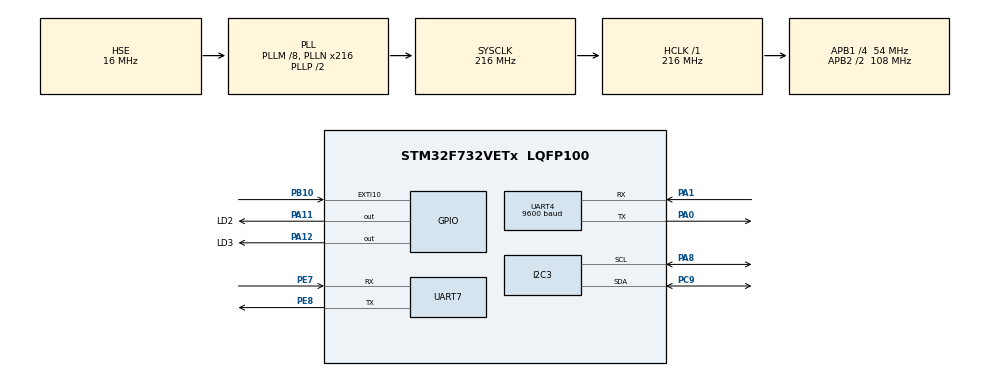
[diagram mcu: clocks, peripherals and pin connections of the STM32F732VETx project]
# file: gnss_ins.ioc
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Dma.Request0=UART4_RX
Dma.UART4_RX.0.Direction=DMA_PERIPH_TO_MEMORY
Dma.UART4_RX.0.FIFOMode=DMA_FIFOMODE_DISABLE
Dma.UART4_RX.0.Instance=DMA1_Stream2
Dma.UART4_RX.0.MemDataAlignment=DMA_MDATAALIGN_BYTE
Dma.UART4_RX.0.MemInc=DMA_MINC_ENABLE
Dma.UART4_RX.0.Mode=DMA_NORMAL
Dma.UART4_RX.0.PeriphDataAlignment=DMA_PDATAALIGN_BYTE
Dma.UART4_RX.0.PeriphInc=DMA_PINC_DISABLE
Dma.UART4_RX.0.Priority=DMA_PRIORITY_VERY_HIGH
I2C3.Timing=0x20404768
Mcu.Family=STM32F7
Mcu.Name=STM32F732VETx
Mcu.Package=LQFP100
NVIC.DMA1_Stream2_IRQn=true\:0\:0\:false\:false\:true\:false\:true
NVIC.EXTI15_10_IRQn=true\:0\:0\:false\:false\:true\:true\:true
NVIC.PriorityGroup=NVIC_PRIORITYGROUP_4
NVIC.TIM3_IRQn=true\:0\:0\:false\:false\:true\:true\:true
NVIC.TIM4_IRQn=true\:0\:0\:false\:false\:true\:true\:true
NVIC.UART4_IRQn=true\:0\:0\:false\:false\:true\:true\:true
PA0-WKUP.Mode=Asynchronous
PA0-WKUP.Signal=UART4_TX
PA1.Mode=Asynchronous
PA1.Signal=UART4_RX
PA11.GPIO_Label=LD2
PA11.Signal=GPIO_Output
PA12.GPIO_Label=LD3
PA12.Signal=GPIO_Output
PA8.Mode=I2C
PA8.Signal=I2C3_SCL
PB10.Signal=GPXTI10
PC9.Mode=I2C
PC9.Signal=I2C3_SDA
PE7.Mode=Asynchronous
PE7.Signal=UART7_RX
PE8.Mode=Asynchronous
PE8.Signal=UART7_TX
PH0-OSC_IN.Mode=HSE-External-Oscillator
PH0-OSC_IN.Signal=RCC_OSC_IN
PH1-OSC_OUT.Mode=HSE-External-Oscillator
PH1-OSC_OUT.Signal=RCC_OSC_OUT
ProjectManager.HeapSize=0x200
ProjectManager.StackSize=0x400
ProjectManager.TargetToolchain=STM32CubeIDE
RCC.AHBFreq_Value=216000000
RCC.APB1CLKDivider=RCC_HCLK_DIV4
RCC.APB1Freq_Value=54000000
RCC.APB1TimFreq_Value=108000000
RCC.APB2CLKDivider=RCC_HCLK_DIV2
RCC.APB2Freq_Value=108000000
RCC.APB2TimFreq_Value=216000000
RCC.CortexFreq_Value=216000000
RCC.HCLKFreq_Value=216000000
RCC.HSE_VALUE=16000000
RCC.HSI_VALUE=16000000
RCC.LSE_VALUE=32768
RCC.PLLM=8
RCC.PLLN=216
RCC.PLLSourceVirtual=RCC_PLLSOURCE_HSE
RCC.SYSCLKFreq_VALUE=216000000
RCC.SYSCLKSource=RCC_SYSCLKSOURCE_PLLCLK
RCC.USBFreq_Value=216000000
RCC.VCOOutputFreq_Value=432000000
TIM3.Period=20
TIM3.Prescaler=54000-1
TIM3.TIM_MasterOutputTrigger=TIM_TRGO_UPDATE
TIM4.Period=2000
TIM4.Prescaler=54000-1
TIM4.TIM_MasterOutputTrigger=TIM_TRGO_UPDATE
UART4.BaudRate=9600
UART7.Parity=PARITY_EVEN
UART7.WordLength=WORDLENGTH_9B
VP_TIM3_VS_ClockSourceINT.Mode=Internal
VP_TIM4_VS_ClockSourceINT.Mode=Internal
board=custom

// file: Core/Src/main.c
/* USER CODE BEGIN Header */
/**
  ******************************************************************************
  * @file           : main.c
  * @brief          : Main program body
  ******************************************************************************
  * @attention
  *
  * <h2><center>&copy; Copyright (c) 2021 STMicroelectronics.
  * All rights reserved.</center></h2>
  *
  * This software component is licensed by ST under BSD 3-Clause license,
  * the "License"; You may not use this file except in compliance with the
  * License. You may obtain a copy of the License at:
  *                        opensource.org/licenses/BSD-3-Clause
  *
  ******************************************************************************
  */
/* USER CODE END Header */
#include "main.h"
#include "dma.h"
#include "i2c.h"
#include "tim.h"
#include "usart.h"
#include "gpio.h"

/* USER CODE BEGIN Includes */
#include "system_defines.h"
#include "imu.h"
#include "gnss.h"
#include "ins.h"
#include "moving_average_filter.h"
#include "logging.h"
#include "unit.h"
#include "stdio.h"

/* USER CODE END Includes */

/* USER CODE BEGIN PD */

void acc_init();
void acc_handle();

void gnss_init();
void gnss_handle();

/* USER CODE END PD */

void SystemClock_Config(void);

int main(void)
{

  /* MCU Configuration--------------------------------------------------------*/

  /* Reset of all peripherals, Initializes the Flash interface and the Systick. */
  HAL_Init();

  /* Configure the system clock */
  SystemClock_Config();

  /* Initialize all configured peripherals */
  MX_GPIO_Init();
  MX_I2C3_Init();
  MX_DMA_Init();
  MX_UART4_Init();
  MX_TIM3_Init();
  MX_UART7_Init();
  MX_TIM4_Init();
  /* USER CODE BEGIN 2 */

#ifdef UNIT
  unit_test();
#endif

  HAL_TIM_Base_Start_IT(&htim3);//period 10ms
  HAL_TIM_Base_Start_IT(&htim4);//period 1s

  acc_init();
  gnss_init();

  /* USER CODE END 2 */

  /* Infinite loop */
  /* USER CODE BEGIN WHILE */
  while (1)
  {

	  gnss_handle();
	  acc_handle();

    /* USER CODE END WHILE */

  }
}

void SystemClock_Config(void)
{
  RCC_OscInitTypeDef RCC_OscInitStruct = {0};
  RCC_ClkInitTypeDef RCC_ClkInitStruct = {0};
  RCC_PeriphCLKInitTypeDef PeriphClkInitStruct = {0};

  /** Configure the main internal regulator output voltage
  */
  __HAL_RCC_PWR_CLK_ENABLE();
  __HAL_PWR_VOLTAGESCALING_CONFIG(PWR_REGULATOR_VOLTAGE_SCALE1);
  /** Initializes the RCC Oscillators according to the specified parameters
  * in the RCC_OscInitTypeDef structure.
  */
  RCC_OscInitStruct.OscillatorType = RCC_OSCILLATORTYPE_HSE;
  RCC_OscInitStruct.HSEState = RCC_HSE_ON;
  RCC_OscInitStruct.PLL.PLLState = RCC_PLL_ON;
  RCC_OscInitStruct.PLL.PLLSource = RCC_PLLSOURCE_HSE;
  RCC_OscInitStruct.PLL.PLLM = 8;
  RCC_OscInitStruct.PLL.PLLN = 216;
  RCC_OscInitStruct.PLL.PLLP = RCC_PLLP_DIV2;
  RCC_OscInitStruct.PLL.PLLQ = 2;
  if (HAL_RCC_OscConfig(&RCC_OscInitStruct) != HAL_OK)
  {
    Error_Handler();
  }
  /** Activate the Over-Drive mode
  */
  if (HAL_PWREx_EnableOverDrive() != HAL_OK)
  {
    Error_Handler();
  }
  /** Initializes the CPU, AHB and APB buses clocks
  */
  RCC_ClkInitStruct.ClockType = RCC_CLOCKTYPE_HCLK|RCC_CLOCKTYPE_SYSCLK
                              |RCC_CLOCKTYPE_PCLK1|RCC_CLOCKTYPE_PCLK2;
  RCC_ClkInitStruct.SYSCLKSource = RCC_SYSCLKSOURCE_PLLCLK;
  RCC_ClkInitStruct.AHBCLKDivider = RCC_SYSCLK_DIV1;
  RCC_ClkInitStruct.APB1CLKDivider = RCC_HCLK_DIV4;
  RCC_ClkInitStruct.APB2CLKDivider = RCC_HCLK_DIV2;

  if (HAL_RCC_ClockConfig(&RCC_ClkInitStruct, FLASH_LATENCY_7) != HAL_OK)
  {
    Error_Handler();
  }
  PeriphClkInitStruct.PeriphClockSelection = RCC_PERIPHCLK_UART4|RCC_PERIPHCLK_UART7
                              |RCC_PERIPHCLK_I2C3;
  PeriphClkInitStruct.Uart4ClockSelection = RCC_UART4CLKSOURCE_PCLK1;
  PeriphClkInitStruct.Uart7ClockSelection = RCC_UART7CLKSOURCE_PCLK1;
  PeriphClkInitStruct.I2c3ClockSelection = RCC_I2C3CLKSOURCE_PCLK1;
  if (HAL_RCCEx_PeriphCLKConfig(&PeriphClkInitStruct) != HAL_OK)
  {
    Error_Handler();
  }
}

/* USER CODE BEGIN 4 */

//void HAL_UART_RxCpltCallback(UART_HandleTypeDef *huart)
//{
//  /* Prevent unused argument(s) compilation warning */
//  UNUSED(huart);
//  if (huart->Instance == UART4)
//  {
//	  HAL_UART_AbortReceive(&huart4);
//	  g_flag.uart4_rx = 1;
//  }
//}

void HAL_UART_ErrorCallback(UART_HandleTypeDef *huart)
{
	if (huart->Instance == UART4)
	{
		g.counter.uart4_error++;
		HAL_UART_AbortReceive(&huart4);
		HAL_UART_Receive_DMA(&huart4, (uint8_t *)g.buffer.uart4_rx, UART4_RX_SIZE);
	}
}

void HAL_GPIO_EXTI_Callback(uint16_t GPIO_Pin)
{
  HAL_UART_AbortReceive(&huart4);
  g.counter.pps++;
  g.flag.uart4_rx_interrupt = TRUE;
//  if(0x0400 != GPIO_Pin)
//  {
//	  uint8_t breakpoint = 0;
//  }
}

void HAL_TIM_PeriodElapsedCallback(TIM_HandleTypeDef *htim)
{
  if (htim->Instance == TIM3)
  {
	  g.flag.tim3_interrupt = TRUE;
	  g.counter.tim3++;
  }
  else if (htim->Instance == TIM4)
  {
	  g.flag.tim4_interrupt = TRUE;
	  g.counter.tim4++;
  }
}

void acc_init()
{
	//wait for 5s before calibration
	while(g.counter.tim4 < 4)
	{
		uint8_t i = 0;
	}

	imu_init_acc();

	moving_average_filter_reset(&g.filter_acc_x, FILTER_SIZE_CALIBRATION);
	moving_average_filter_reset(&g.filter_acc_y, FILTER_SIZE_CALIBRATION);
	moving_average_filter_reset(&g.filter_acc_z, FILTER_SIZE_CALIBRATION);

	moving_average_filter_reset(&g.filter_gyro_x, FILTER_SIZE_CALIBRATION);
	moving_average_filter_reset(&g.filter_gyro_y, FILTER_SIZE_CALIBRATION);
	moving_average_filter_reset(&g.filter_gyro_z, FILTER_SIZE_CALIBRATION);
}

void acc_handle()
{

  if(TRUE == g.flag.tim3_interrupt)
  {
	  imu_read_acc(&g.acc_x, &g.acc_y, &g.acc_z);
	  imu_read_gyro(&g.gyro_x, &g.gyro_y, &g.gyro_z);

	  moving_average_filter_update_float(&g.filter_acc_x, g.acc_x.value);
	  moving_average_filter_update_float(&g.filter_acc_y, g.acc_y.value);
	  moving_average_filter_update_float(&g.filter_acc_z, g.acc_z.value);

	  moving_average_filter_update_float(&g.filter_gyro_x, g.gyro_x.value);
	  moving_average_filter_update_float(&g.filter_gyro_y, g.gyro_y.value);
	  moving_average_filter_update_float(&g.filter_gyro_z, g.gyro_z.value);

	  g.acc_x.value_filtered = g.filter_acc_x.value;
	  g.acc_y.value_filtered = g.filter_acc_y.value;
	  g.acc_z.value_filtered = g.filter_acc_z.value;

	  g.gyro_x.value_filtered = g.filter_gyro_x.value;
	  g.gyro_y.value_filtered = g.filter_gyro_y.value;
	  g.gyro_z.value_filtered = g.filter_gyro_z.value;

	  if(g.filter_acc_x.buf_size >= FILTER_SIZE_CALIBRATION || g.flag.acc_calibrated == 1)
	  {
		  if(g.flag.acc_calibrated == 0)
		  {
			  imu_calibrate_acc(&g.acc_x, &g.acc_y, &g.acc_z);
			  imu_calibrate_gyro(&g.gyro_x, &g.gyro_y, &g.gyro_z);

			  moving_average_filter_reset(&g.filter_acc_x, FILTER_SIZE);
			  moving_average_filter_reset(&g.filter_acc_y, FILTER_SIZE);
			  moving_average_filter_reset(&g.filter_acc_z, FILTER_SIZE);

			  imu_read_acc(&g.acc_x, &g.acc_y, &g.acc_z);
			  imu_read_gyro(&g.gyro_x, &g.gyro_y, &g.gyro_z);

			  g.flag.acc_calibrated = 1;

			  HAL_GPIO_TogglePin(GPIOA, LD2_Pin);
			  HAL_Delay(250);
			  HAL_GPIO_TogglePin(GPIOA, LD2_Pin);
			  HAL_Delay(250);
			  HAL_GPIO_TogglePin(GPIOA, LD2_Pin);
			  HAL_Delay(250);
			  HAL_GPIO_TogglePin(GPIOA, LD2_Pin);
		  }

		  g.ins.acceleration_2d = ins_calculate_2d_acceleration(g.acc_x.value_filtered, g.acc_y.value_filtered);
		  g.ins.acceleration_3d = ins_calculate_3d_acceleration(g.acc_x.value_filtered, g.acc_y.value_filtered, g.acc_z.value_filtered);

		  g.ins.velocity_m_s = ins_calculate_velocity(&g.ins.velocity_initial, g.ins.acceleration_3d, ACC_SAMPLE_PERIOD);
		  g.ins.velocity_km_h = g.ins.velocity_m_s * 3600 / 1000;

		  g.counter.acc_read++;
	  }

	  g.flag.tim3_interrupt = FALSE;
  }
}

void gnss_init()
{
		//Pradetas daryti baudrate pakeitimas i 115200
//	strncpy(uart4_tx_buffer, SET_NMEA_BAUDRATE_115200, 15);
//	strcpy(uart4_tx_buffer[15], "*");
//
//	L76X_Send_Command((uint8_t *)uart4_tx_buffer);
//
	HAL_UART_Receive_DMA(&huart4, (uint8_t *)g.buffer.uart4_rx, UART4_RX_SIZE);

	#ifdef GNSS_TEST
	  L76X_parse_GNRMC(buff_t, BUFFSIZE);
	#endif
}

void gnss_handle()
{
  if(TRUE == g.flag.uart4_rx_interrupt)
  {
//		  GNRMC gnss_result;
//		  gnss_result = L76X_Gat_GNRMC();

	#ifndef GNSS_TEST
	  gnss_parse_GNRMC(g.buffer.uart4_rx, UART4_RX_SIZE);
	#endif

//	  g.flag.gnss_initiated = TRUE;
	  g.counter.gnss_parse++;

	  if(g.counter.gnss_parse % 10 == 0 && g.counter.test_ins == 0)
	  {
		  g.counter.test_ins = 5;
	  }

	  if(g.counter.test_ins > 0)
	  {
		  g.flag.gnss_active = FALSE;
		  g.counter.test_ins--;
	  }
	  else
	  {
		  g.flag.gnss_active = TRUE;
	  }

	  joint_result_calculate_bearing(&g.joint_result, &g.gnss, &g.acc_x, &g.gyro_z);

	  g.gnss.no_packet_counter = 0;

	  if(TRUE == g.flag.acc_calibrated && TRUE == g.flag.gnss_initiated && g.gnss.lat < 90)
	  {
		  logging();
	  }

	  g.gnss.last_timestamp = 0;

	  HAL_GPIO_TogglePin(GPIOA, LD3_Pin);

	  g.flag.uart4_rx_interrupt = FALSE;
	  HAL_UART_Receive_DMA(&huart4, (uint8_t *)g.buffer.uart4_rx, UART4_RX_SIZE);
  }
  //Detection if there was lost gnss packets
//  else if(g.flag.tim4_interrupt > 1)
//  {
//	  if(g.gnss.last_timestamp > 0)
//	  {
//		  g.gnss.no_packet_counter++;
//		  g.flag.gnss_active = FALSE;
//	  }
//	  else
//	  {
//		  g.gnss.last_timestamp++;
//	  }
//
//	  g.flag.tim4_interrupt = 0;
//  }
}

/* USER CODE END 4 */

void Error_Handler(void)
{
  __disable_irq();
  while (1)
  {
  }
}

/************************ (C) COPYRIGHT STMicroelectronics *****END OF FILE****/
